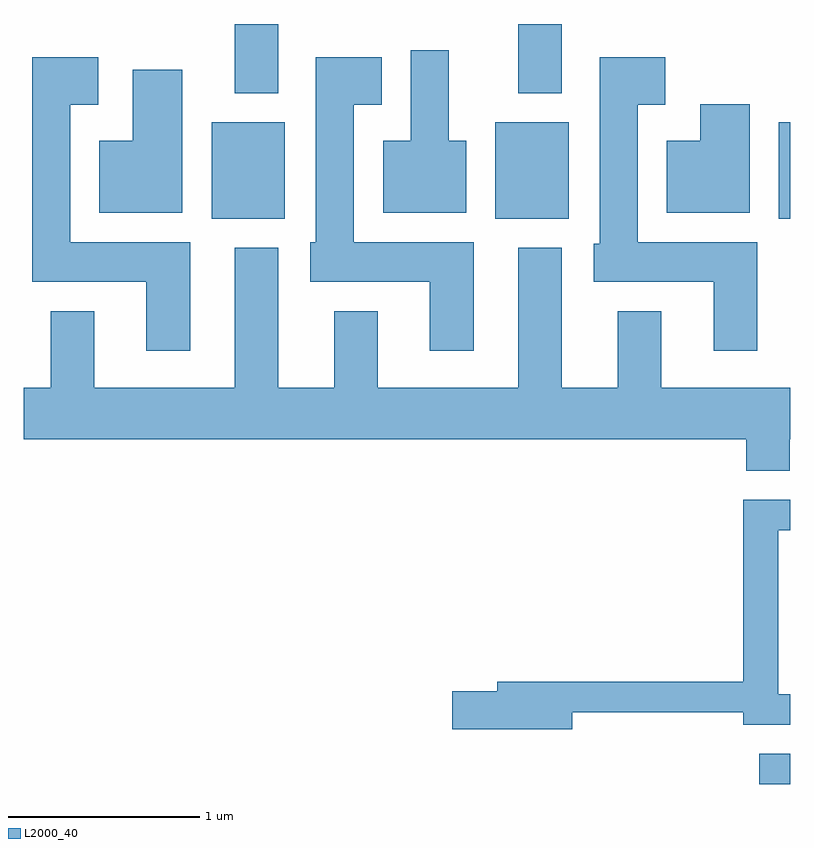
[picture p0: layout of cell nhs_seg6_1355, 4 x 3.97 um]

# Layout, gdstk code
import gdstk
lib = gdstk.Library(unit=1e-6, precision=1e-09)
def R(c, l, rs):  # rectangles x0, y0, x1, y1
    for r in rs: c.add(gdstk.rectangle(r[:2], r[2:], *l))
def P(c, l, *ps):  # polygons
    for p in ps: c.add(gdstk.Polygon(p, *l))
L2000_40 = (2000, 40)

nhs_seg6_1355 = lib.new_cell('nhs_seg6_1355')
R(nhs_seg6_1355, L2000_40, [(229.448,1588.196,229.611,1588.354), (226.591,1591.146,226.974,1591.649), (228.071,1591.146,228.454,1591.649), (229.551,1591.146,229.611,1591.649), (226.711,1591.801,226.939,1592.162), (228.191,1591.801,228.419,1592.162)])
P(nhs_seg6_1355, L2000_40, [(227.919,1591.554),(227.829,1591.554),(227.829,1592.024),(227.631,1592.024),(227.631,1591.554),(227.486,1591.554),(227.486,1591.176),(227.919,1591.176)],
  [(229.439,1591.024),(228.814,1591.024),(228.814,1591.741),(228.959,1591.741),(228.959,1591.989),(228.616,1591.989),(228.616,1591.014),(228.586,1591.014),(228.586,1590.816),(229.211,1590.816),(229.211,1590.456),(229.439,1590.456)],
  [(227.959,1591.024),(227.334,1591.024),(227.334,1591.741),(227.479,1591.741),(227.479,1591.989),(227.136,1591.989),(227.136,1591.024),(227.106,1591.024),(227.106,1590.816),(227.731,1590.816),(227.731,1590.456),(227.959,1590.456)],
  [(226.479,1591.024),(225.854,1591.024),(225.854,1591.741),(225.999,1591.741),(225.999,1591.989),(225.656,1591.989),(225.656,1590.816),(226.251,1590.816),(226.251,1590.456),(226.479,1590.456)],
  [(226.439,1591.924),(226.181,1591.924),(226.181,1591.554),(226.006,1591.554),(226.006,1591.176),(226.439,1591.176)],
  [(229.399,1591.744),(229.141,1591.744),(229.141,1591.554),(228.966,1591.554),(228.966,1591.176),(229.399,1591.176)],
  [(229.609,1589.996),(229.611,1589.996),(229.611,1590.264),(228.939,1590.264),(228.939,1590.664),(228.711,1590.664),(228.711,1590.264),(228.419,1590.264),(228.419,1590.994),(228.191,1590.994),(228.191,1590.264),(227.459,1590.264),(227.459,1590.664),(227.231,1590.664),(227.231,1590.264),(226.939,1590.264),(226.939,1590.994),(226.711,1590.994),(226.711,1590.264),(225.979,1590.264),(225.979,1590.664),(225.751,1590.664),(225.751,1590.264),(225.611,1590.264),(225.611,1589.996),(229.381,1589.996),(229.381,1589.831),(229.609,1589.831)],
  [(228.474,1588.571),(229.366,1588.571),(229.366,1588.506),(229.611,1588.506),(229.611,1588.664),(229.549,1588.664),(229.549,1589.521),(229.611,1589.521),(229.611,1589.679),(229.366,1589.679),(229.366,1588.729),(228.081,1588.729),(228.081,1588.679),(227.846,1588.679),(227.846,1588.481),(228.474,1588.481)])

lib.write_gds('nhs_seg6_1355.gds')
